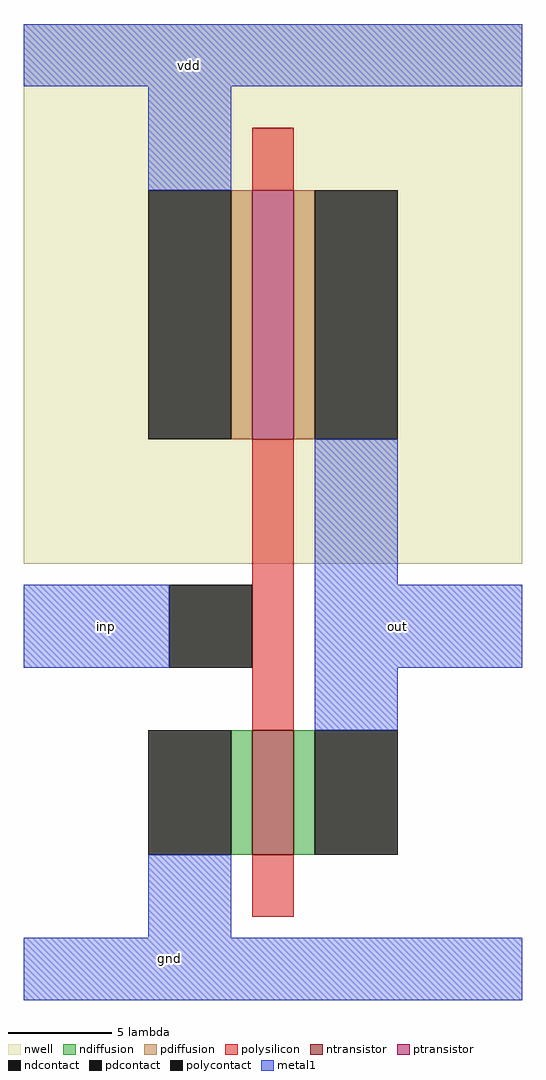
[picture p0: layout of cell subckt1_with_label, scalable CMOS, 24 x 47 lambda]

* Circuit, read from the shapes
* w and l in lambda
.subckt subckt1_with_label gnd inp out vdd
M1 out inp gnd VSUBS nfet w=6 l=2
M2 out inp vdd n1 pfet w=12 l=2
.ends

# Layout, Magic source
magic
tech scmos
<< nwell >>
rect 0 0 24 26
<< ntransistor >>
rect 11 -14 13 -8
<< ptransistor >>
rect 11 6 13 18
<< ndiffusion >>
rect 10 -14 11 -8
rect 13 -14 14 -8
<< pdiffusion >>
rect 10 6 11 18
rect 13 6 14 18
<< ndcontact >>
rect 6 -14 10 -8
rect 14 -14 18 -8
<< pdcontact >>
rect 6 6 10 18
rect 14 6 18 18
<< polysilicon >>
rect 11 18 13 21
rect 11 -8 13 6
rect 11 -17 13 -14
<< polycontact >>
rect 7 -5 11 -1
<< metal1 >>
rect 0 23 24 26
rect 6 18 10 23
rect 14 -1 18 6
rect 0 -5 7 -1
rect 14 -5 24 -1
rect 14 -8 18 -5
rect 6 -18 10 -14
rect 0 -21 24 -18
<< labels >>
rlabel metal1 4 -3 4 -3 3 inp
rlabel metal1 18 -3 18 -3 1 out
rlabel metal1 7 -19 7 -19 1 gnd
rlabel metal1 8 24 8 24 5 vdd
<< end >>
